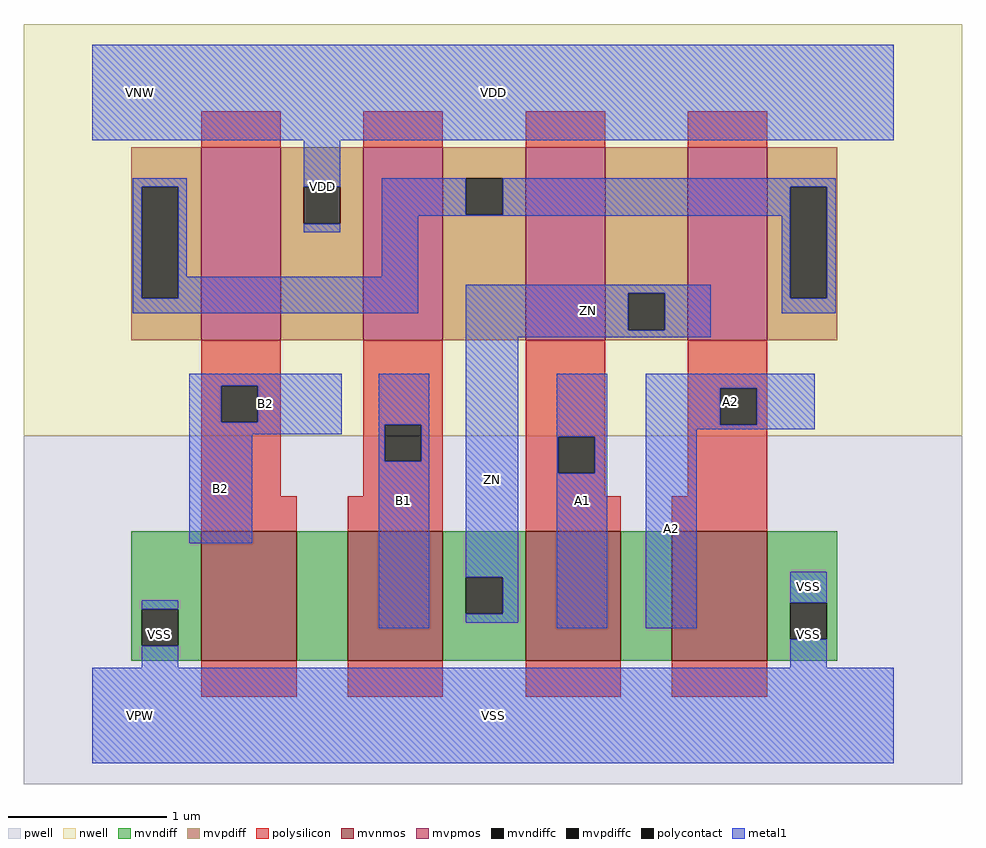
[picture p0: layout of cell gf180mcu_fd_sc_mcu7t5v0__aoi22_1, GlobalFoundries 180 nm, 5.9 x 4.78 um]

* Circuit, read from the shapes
.subckt gf180mcu_fd_sc_mcu7t5v0__aoi22_1 A1 A2 B1 B2 ZN VDD VNW VPW VSS
XM1 n1 B2 VSS VPW nfet_06v0 w=0.815u l=0.6u
XM2 ZN B1 n1 VPW nfet_06v0 w=0.815u l=0.6u
XM3 n2 A1 ZN VPW nfet_06v0 w=0.815u l=0.6u
XM4 VSS A2 n2 VPW nfet_06v0 w=0.815u l=0.6u
XM5 VDD B2 n3 VNW pfet_06v0 w=1.215u l=0.5u
XM6 n3 B1 VDD VNW pfet_06v0 w=1.215u l=0.5u
XM7 ZN A1 n3 VNW pfet_06v0 w=1.215u l=0.5u
XM8 n3 A2 ZN VNW pfet_06v0 w=1.215u l=0.5u
.ends

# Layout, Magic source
magic
tech gf180mcuD
magscale 1 10
<< nwell >>
rect -86 352 1094 870
<< pwell >>
rect -86 -86 1094 352
<< mvnmos >>
rect 137 69 257 232
rect 321 69 441 232
rect 545 69 665 232
rect 729 69 849 232
<< mvpmos >>
rect 137 472 237 715
rect 341 472 441 715
rect 545 472 645 715
rect 749 472 849 715
<< mvndiff >>
rect 49 134 137 232
rect 49 88 62 134
rect 108 88 137 134
rect 49 69 137 88
rect 257 69 321 232
rect 441 174 545 232
rect 441 128 470 174
rect 516 128 545 174
rect 441 69 545 128
rect 665 69 729 232
rect 849 142 937 232
rect 849 96 878 142
rect 924 96 937 142
rect 849 69 937 96
<< mvpdiff >>
rect 49 665 137 715
rect 49 525 62 665
rect 108 525 137 665
rect 49 472 137 525
rect 237 665 341 715
rect 237 619 266 665
rect 312 619 341 665
rect 237 472 341 619
rect 441 676 545 715
rect 441 630 470 676
rect 516 630 545 676
rect 441 472 545 630
rect 645 531 749 715
rect 645 485 674 531
rect 720 485 749 531
rect 645 472 749 485
rect 849 665 937 715
rect 849 525 878 665
rect 924 525 937 665
rect 849 472 937 525
<< mvndiffc >>
rect 62 88 108 134
rect 470 128 516 174
rect 878 96 924 142
<< mvpdiffc >>
rect 62 525 108 665
rect 266 619 312 665
rect 470 630 516 676
rect 674 485 720 531
rect 878 525 924 665
<< polysilicon >>
rect 137 715 237 760
rect 341 715 441 760
rect 545 715 645 760
rect 749 715 849 760
rect 137 415 237 472
rect 137 369 162 415
rect 208 369 237 415
rect 137 276 237 369
rect 341 366 441 472
rect 341 320 368 366
rect 414 320 441 366
rect 341 276 441 320
rect 137 232 257 276
rect 321 232 441 276
rect 545 351 645 472
rect 545 305 586 351
rect 632 305 645 351
rect 545 276 645 305
rect 749 412 849 472
rect 749 366 790 412
rect 836 366 849 412
rect 749 276 849 366
rect 545 232 665 276
rect 729 232 849 276
rect 137 24 257 69
rect 321 24 441 69
rect 545 24 665 69
rect 729 24 849 69
<< polycontact >>
rect 162 369 208 415
rect 368 320 414 366
rect 586 305 632 351
rect 790 366 836 412
<< metal1 >>
rect 0 724 1008 844
rect 51 665 119 676
rect 51 525 62 665
rect 108 552 119 665
rect 266 665 312 724
rect 266 608 312 619
rect 364 630 470 676
rect 516 665 935 676
rect 516 630 878 665
rect 364 629 878 630
rect 364 552 410 629
rect 108 525 410 552
rect 51 506 410 525
rect 470 531 778 542
rect 470 485 674 531
rect 720 485 778 531
rect 867 525 878 629
rect 924 525 935 665
rect 867 506 935 525
rect 470 476 778 485
rect 122 415 314 430
rect 122 369 162 415
rect 208 369 314 415
rect 122 354 314 369
rect 360 366 424 430
rect 122 217 201 354
rect 360 320 368 366
rect 414 320 424 366
rect 62 134 108 145
rect 360 110 424 320
rect 470 174 536 476
rect 516 128 536 174
rect 470 117 536 128
rect 584 351 648 430
rect 584 305 586 351
rect 632 305 648 351
rect 584 110 648 305
rect 696 412 909 430
rect 696 366 790 412
rect 836 366 909 412
rect 696 360 909 366
rect 696 110 760 360
rect 878 142 924 181
rect 62 60 108 88
rect 878 60 924 96
rect 0 -60 1008 60
<< labels >>
flabel metal1 s 360 110 424 430 0 FreeSans 400 0 0 0 B1
port 3 nsew default input
flabel metal1 s 122 354 314 430 0 FreeSans 400 0 0 0 B2
port 4 nsew default input
flabel metal1 s 0 724 1008 844 0 FreeSans 400 0 0 0 VDD
port 6 nsew power bidirectional abutment
flabel metal1 s 878 145 924 181 0 FreeSans 400 0 0 0 VSS
port 9 nsew ground bidirectional abutment
flabel metal1 s 470 476 778 542 0 FreeSans 400 0 0 0 ZN
port 5 nsew default output
flabel metal1 s 584 110 648 430 0 FreeSans 400 0 0 0 A1
port 1 nsew default input
flabel metal1 s 696 360 909 430 0 FreeSans 400 0 0 0 A2
port 2 nsew default input
flabel nwell s 10 734 110 834 0 FreeSans 400 0 0 0 VNW
port 7 nsew power bidirectional
flabel pwell s 10 -50 110 50 0 FreeSans 400 0 0 0 VPW
port 8 nsew ground bidirectional
rlabel metal1 s 696 110 760 360 1 A2
port 2 nsew default input
rlabel metal1 s 122 217 201 354 1 B2
port 4 nsew default input
rlabel metal1 s 470 117 536 476 1 ZN
port 5 nsew default output
rlabel metal1 s 266 608 312 724 1 VDD
port 6 nsew power bidirectional abutment
rlabel metal1 s 878 60 924 145 1 VSS
port 9 nsew ground bidirectional abutment
rlabel metal1 s 62 60 108 145 1 VSS
port 9 nsew ground bidirectional abutment
rlabel metal1 s 0 -60 1008 60 1 VSS
port 9 nsew ground bidirectional abutment
<< properties >>
string FIXED_BBOX 0 0 1008 784
string GDS_END 1264640
string GDS_FILE $PDKPATH/libs.ref/gf180mcu_fd_sc_mcu7t5v0/gds/gf180mcu_fd_sc_mcu7t5v0.gds
string GDS_START 1261234
string LEFclass core
string LEFsite GF018hv5v_mcu_sc7
string LEFsymmetry X Y
string MASKHINTS_DUALGATE -56 763 57 840 929 763 1064 840 -56 424 1 763 985 424 1064 763 -56 280 57 424 929 280 1064 424 -56 21 1 280 985 21 1064 280 -56 -56 57 21 929 -56 1064 21
string MASKHINTS_NPLUS -40 278 1048 352 -40 264 91 278 895 264 1048 278 -40 37 17 264 969 37 1048 264 -40 23 91 37 895 23 1048 37 -40 -40 1048 23
string MASKHINTS_PPLUS -40 761 1048 824 -40 747 91 761 895 747 1048 761 -40 440 17 747 969 440 1048 747 -40 426 91 440 895 426 1048 440 -40 352 1048 426
<< end >>
